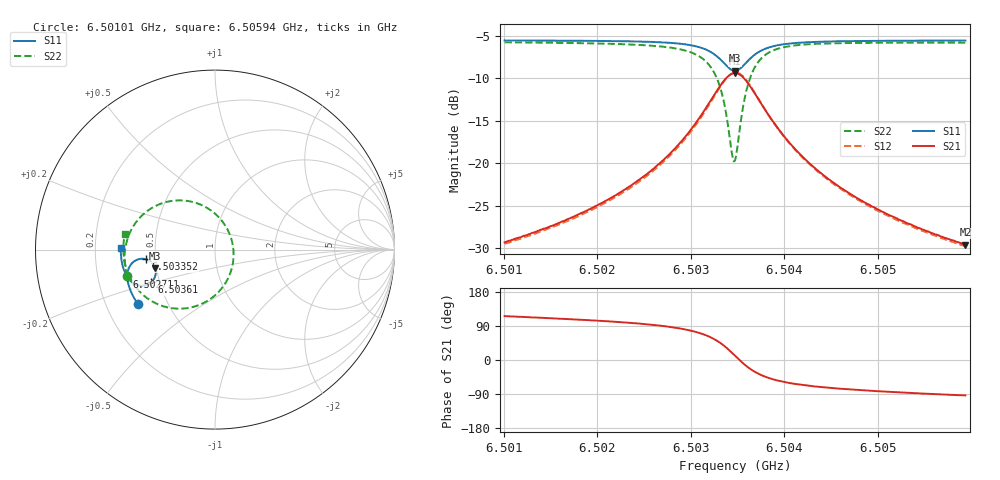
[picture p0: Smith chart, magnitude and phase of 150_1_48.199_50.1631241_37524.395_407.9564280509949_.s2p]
#  HZ  S  RI  R  50.00
! Rohde & Schwarz Vector Network Analyzer
! Rohde-Schwarz,ZNB20-2Port,1311601062101988,3.16
! Created: UTC 3/20/2024, 11:42:46 AM
! freq[Hz]  re:S11  im:S11  re:S21  im:S21  re:S12  im:S12  re:S22  im:S22
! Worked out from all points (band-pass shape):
!   401 points, 6.50101 GHz to 6.50594 GHz, reference 50 ohm
!   highest |S21| = -9.41 dB at 6.503475 GHz (marker M1); lowest = -29.6 dB at 6.50594 GHz (marker M2)
!   |S21| within 3 dB of the highest: 6.503228 GHz to 6.503721 GHz (492.5 kHz wide, 0.00757 % of centre)
!   lowest |S11| = -9.1 dB at 6.503475 GHz (marker M3), VSWR 2.07, Z = 24.6 - j5.83 ohm
!   |S11| at or under -10 dB: nowhere
!   |S22| runs from -19.8 to -5.8 dB; largest |S21 - S12| = 0.012
!   S11 on the Smith chart (normalised r, x): 6.50101 GHz: 0.34, -0.29; 6.502711 GHz: 0.33, -0.14; 6.503352 GHz: 0.44, -0.06; 6.50361 GHz: 0.45, -0.19; 6.50594 GHz: 0.31, +0.01
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6.5010099e9  -0.429 -0.3053  -0.0149 0.0308  -0.0132 0.0309  -0.4918 -0.1481
6.5018357e9  -0.4641 -0.2436  -0.0141 0.049  -0.0116 0.0485  -0.504 -0.0591
6.5023163e9  -0.4806 -0.2003  -0.0108 0.0704  -0.00761 0.069  -0.4995 0.0111
6.5026614e9  -0.4882 -0.1613  -0.00168 0.0989  0.00207 0.0964  -0.4794 0.0827
6.5027107e9  -0.4887 -0.1547  0.000758 0.1045  0.00452 0.1019  -0.474 0.0955
6.5029448e9  -0.4854 -0.1179  0.0236 0.1414  0.0274 0.1371  -0.4264 0.1698
6.503105e9  -0.4706 -0.0858  0.0629 0.1775  0.0658 0.1716  -0.3496 0.2334
6.5032529e9  -0.433 -0.0561  0.1446 0.2063  0.1455 0.1998  -0.2004 0.2745
6.5033515e9  -0.3867 -0.0532  0.2361 0.1895  0.2363 0.1846  -0.0421 0.2312
6.5034378e9  -0.3438 -0.0822  0.3144 0.1149  0.3166 0.1103  0.0825 0.0838
6.5034624e9  -0.3359 -0.0965  0.3277 0.0831  0.3308 0.0778  0.0995 0.0238
6.5034747e9  -0.3331 -0.1043  0.332 0.0663  0.3354 0.0604  0.1031 -0.00784
6.5034994e9  -0.3301 -0.1206  0.3353 0.0317  0.3391 0.0245  0.1005 -0.0712
6.5035364e9  -0.3323 -0.1444  0.3279 -0.0186  0.3312 -0.0276  0.0729 -0.16
6.5036103e9  -0.3546 -0.1813  0.2812 -0.0948  0.281 -0.1065  -0.0374 -0.2827
6.5037212e9  -0.4001 -0.2012  0.1943 -0.1399  0.1888 -0.1498  -0.2135 -0.329
6.5038814e9  -0.4472 -0.1916  0.1106 -0.1361  0.1034 -0.1413  -0.3642 -0.2802
6.504054e9  -0.4749 -0.1703  0.0651 -0.1153  0.0586 -0.1175  -0.4378 -0.2134
6.5043005e9  -0.4958 -0.1405  0.0346 -0.09  0.0297 -0.0906  -0.4818 -0.1399
6.5046948e9  -0.5123 -0.099  0.0145 -0.065  0.011 -0.0646  -0.5051 -0.0602
6.5051262e9  -0.521 -0.0588  0.00523 -0.0491  0.00284 -0.0485  -0.5108 0.00154
6.5059395e9  -0.5259 0.0102  -0.00196 -0.033  -0.00341 -0.0323  -0.5031 0.089
